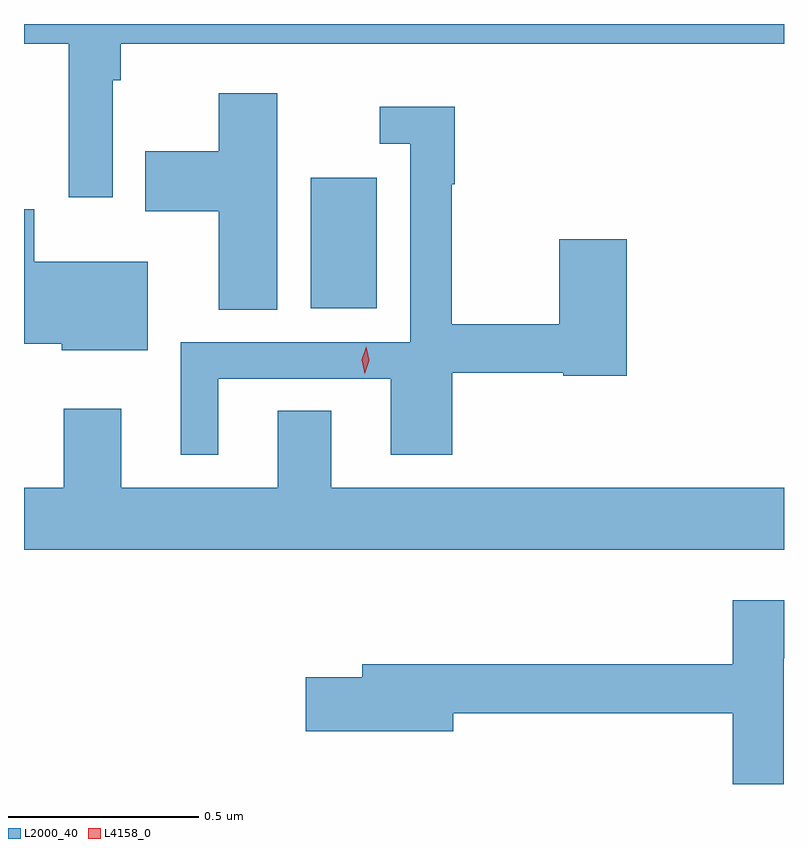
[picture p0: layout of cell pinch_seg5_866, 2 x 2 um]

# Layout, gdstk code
import gdstk
lib = gdstk.Library(unit=1e-6, precision=1e-09)
def R(c, l, rs):  # rectangles x0, y0, x1, y1
    for r in rs: c.add(gdstk.rectangle(r[:2], r[2:], *l))
def P(c, l, *ps):  # polygons
    for p in ps: c.add(gdstk.Polygon(p, *l))
L2000_40 = (2000, 40)
L4158_0 = (4158, 0)

pinch_seg5_866 = lib.new_cell('pinch_seg5_866')
R(pinch_seg5_866, L2000_40, [(802.268,878.708,802.441,879.052)])
P(pinch_seg5_866, L2000_40, [(801.747,879.308),(801.767,879.308),(801.767,879.404),(803.513,879.404),(803.513,879.456),(801.513,879.456),(801.513,879.404),(801.631,879.404),(801.631,879),(801.747,879)],
  [(802.18,879.274),(802.025,879.274),(802.025,879.121),(801.832,879.121),(801.832,878.963),(802.025,878.963),(802.025,878.704),(802.18,878.704)],
  [(802.024,878.523),(802.478,878.523),(802.478,878.322),(802.64,878.322),(802.64,878.538),(802.932,878.538),(802.932,878.53),(803.099,878.53),(803.099,878.89),(802.921,878.89),(802.921,878.666),(802.639,878.666),(802.639,879.034),(802.646,879.034),(802.646,879.238),(802.449,879.238),(802.449,879.141),(802.53,879.141),(802.53,878.619),(801.926,878.619),(801.926,878.322),(802.024,878.322)],
  [(801.838,878.83),(801.54,878.83),(801.54,878.968),(801.513,878.968),(801.513,878.615),(801.612,878.615),(801.612,878.597),(801.838,878.597)],
  [(803.513,878.236),(802.321,878.236),(802.321,878.438),(802.181,878.438),(802.181,878.236),(801.769,878.236),(801.769,878.443),(801.617,878.443),(801.617,878.236),(801.513,878.236),(801.513,878.072),(803.513,878.072)],
  [(803.512,877.787),(803.513,877.787),(803.513,877.939),(803.378,877.939),(803.378,877.771),(802.403,877.771),(802.403,877.737),(802.254,877.737),(802.254,877.595),(802.642,877.595),(802.642,877.642),(803.378,877.642),(803.378,877.456),(803.512,877.456)])
P(pinch_seg5_866, L4158_0, [(802.41,878.535),(802.41,878.535),(802.402,878.572),(802.414,878.607),(802.414,878.607),(802.414,878.607),(802.422,878.571),(802.41,878.535)])

lib.write_gds('pinch_seg5_866.gds')
